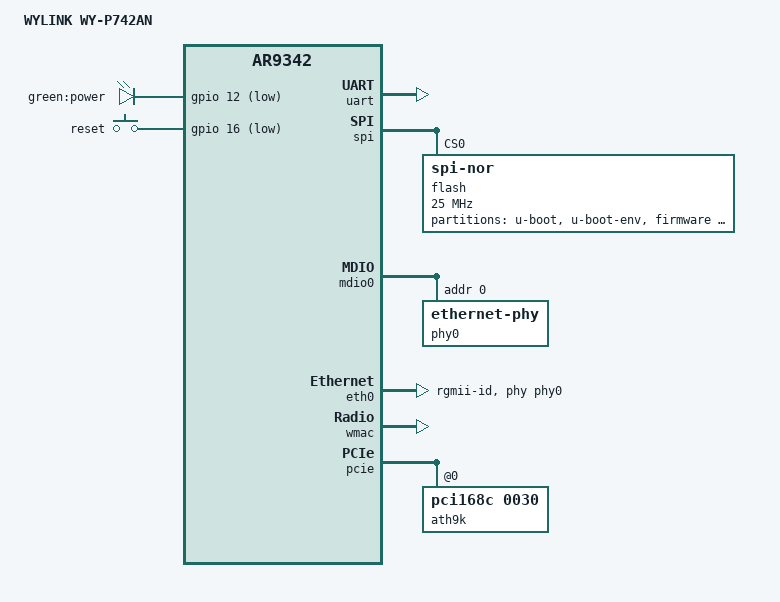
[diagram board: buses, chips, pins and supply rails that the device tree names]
// SPDX-License-Identifier: GPL-2.0-or-later OR MIT

#include "ar9344.dtsi"

#include <dt-bindings/gpio/gpio.h>
#include <dt-bindings/input/input.h>

/ {
	compatible = "wylink,wy-p742an", "qca,ar9342";
	model = "WYLINK WY-P742AN";

	aliases {
		led-boot = &led_power;
		led-failsafe = &led_power;
		led-running = &led_power;
		led-upgrade = &led_power;
		label-mac-device = &eth0;
	};

	leds {
		compatible = "gpio-leds";

		led_power: power {
			label = "green:power";
			gpios = <&gpio 12 GPIO_ACTIVE_LOW>;
			default-state = "on";
		};

	};

	keys {
		compatible = "gpio-keys";

		reset {
			label = "reset";
			linux,code = <KEY_RESTART>;
			gpios = <&gpio 16 GPIO_ACTIVE_LOW>;
			debounce-interval = <60>;
		};
	};
};

&ref {
	clock-frequency = <40000000>;
};

&uart {
	status = "okay";
};

&spi {
	status = "okay";

	flash@0 {
		compatible = "jedec,spi-nor";
		reg = <0>;
		spi-max-frequency = <25000000>;

		partitions {
			compatible = "fixed-partitions";
			#address-cells = <1>;
			#size-cells = <1>;

			partition@0 {
				label = "u-boot";
				reg = <0x000000 0x040000>;
				read-only;
			};

			partition@40000 {
				label = "u-boot-env";
				reg = <0x040000 0x010000>;
			};

			partition@50000 {
				compatible = "denx,uimage";
				label = "firmware";
				reg = <0x050000 0xfa0000>;
			};

			art: partition@ff0000 {
				label = "art";
				reg = <0xff0000 0x010000>;
				read-only;
			};
		};
	};
};

&mdio0 {
	status = "okay";

	phy0: ethernet-phy@0 {
		reg = <0>;

	};
};

&eth0 {
	status = "okay";

	pll-data = <0x06000000 0x00000101 0x00001313>;

	mtd-mac-address = <&art 0x0>;

	phy-mode = "rgmii-id";
	phy-handle = <&phy0>;

	gmac-config {
		device = <&gmac>;
		rgmii-gmac0 = <1>;
		rxd-delay = <1>;
		rxdv-delay = <1>;
	};
};

&wmac {
	status = "okay";

	qca,disable-5ghz;
	mtd-cal-data = <&art 0x1000>;
	mtd-mac-address = <&art 0x0>;
	mtd-mac-address-increment = <1>;
};

&pcie {
	status = "okay";

	ath9k: wifi@0,0 {
		compatible = "pci168c,0030";
		reg = <0x0000 0 0 0 0>;
		mtd-mac-address = <&art 0x0>;
		mtd-mac-address-increment = <2>;
		mtd-cal-data = <&art 0x5000>;
		qca,no-eeprom;
		qca,disable-2ghz;
		#gpio-cells = <2>;
		gpio-controller;
	};
};
